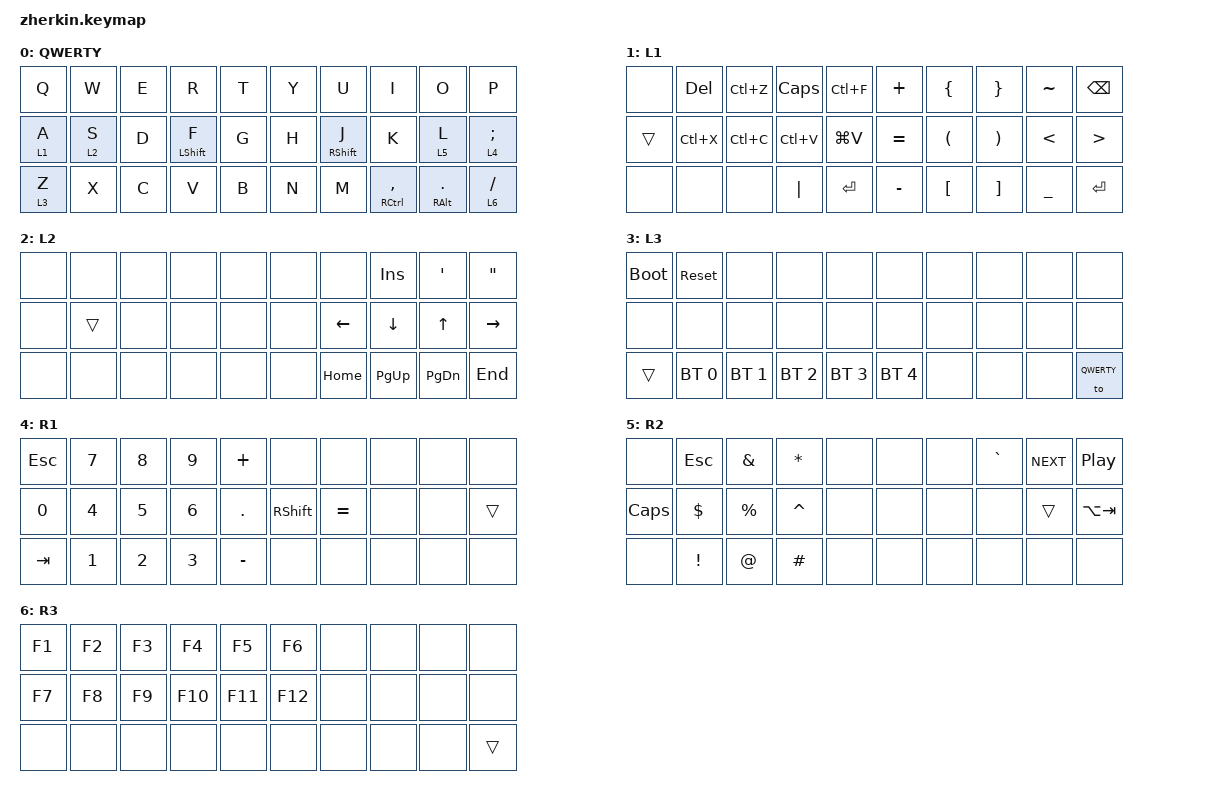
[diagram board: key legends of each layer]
#include <behaviors.dtsi>
#include <dt-bindings/zmk/keys.h>
#include <dt-bindings/zmk/bt.h>
#include <dt-bindings/zmk/outputs.h>

#define QWERTY 0
#define L1 1
#define L2 2
#define L3 3
#define R1 4
#define R2 5
#define R3 6

&lt {
    tapping-term-ms = <180>;     // LAYER TAP SPEED default=200
};

&mt {
    tapping-term-ms = <180>;    // MOD-TAP SPEED default=200
};

/ {
    combos {
        compatible = "zmk,combos";
        combo_space {
            timeout-ms = <50>;
            key-positions = <10 19>;
            bindings = <&kp SPACE>;
        };
        combo_space2 {
            timeout-ms = <50>;
            key-positions = <23 25>;
            bindings = <&kp SPACE>;
        };
    };

    keymap {
        compatible = "zmk,keymap";

        QWERTY {
            bindings = <
                &kp Q      &kp W      &kp E      &kp R       &kp T       &kp Y       &kp U       &kp I       &kp O       &kp P
                &lt 1 A    &lt 2 S    &kp D      &mt LSHIFT F &kp G       &kp H       &mt RSHIFT J &kp K       &lt 5 L     &lt 4 SEMI
                &lt 3 Z    &kp X      &kp C      &kp V       &kp B       &kp N       &kp M       &mt RCTRL COMMA &mt RALT DOT &lt 6 FSLH
            >;
        };

        L1 {
            bindings = <
                &none    &kp DEL    &kp LC(Z)  &kp CAPS   &kp LC(F)      &kp PLUS    &kp LBRC    &kp RBRC    &kp TILDE   &kp BSPC 
                &trans   &kp LC(X)  &kp LC(C)  &kp LC(V)  &kp LG(V)      &kp EQUAL   &kp LPAR    &kp RPAR    &kp LT      &kp GT 
                &none    &none      &none      &kp PIPE   &kp ENTER      &kp MINUS   &kp LBKT    &kp RBKT    &kp UNDER   &kp RET
            >;
        };

        L2 {
            bindings = <
                &none    &none      &none      &none      &none      &none       &none    &kp INS     &kp SQT     &kp DQT
                &none    &trans     &none      &none      &none      &none       &kp LEFT &kp DOWN    &kp UP      &kp RIGHT 
                &none    &none      &none      &none      &none      &none       &kp HOME &kp PG_UP   &kp PG_DN   &kp END
            >;
        };

        L3 {
            bindings = <
                &bootloader     &sys_reset      &none          &none          &none           &none            &none    &none    &none    &none 
                &none           &none           &none          &none          &none           &none            &none    &none    &none    &none     
                &trans          &bt BT_SEL 0    &bt BT_SEL 1   &bt BT_SEL 2   &bt BT_SEL 3    &bt BT_SEL 4     &none    &none    &none    &to QWERTY
            >;
        };

        R1 {
            bindings = <
                &kp ESC    &kp N7      &kp N8      &kp N9      &kp PLUS    &none     &none      &none    &none       &none 
                &kp N0     &kp N4      &kp N5      &kp N6      &kp DOT     &kp RSHFT &kp EQUAL  &none    &none       &trans 
                &kp TAB    &kp N1      &kp N2      &kp N3      &kp MINUS   &none     &none      &none    &none       &none 
            >;
        };

        R2 {
            bindings = <
                &none     &kp ESC  &kp AMPS    &kp ASTRK  &none    &none      &none    &kp GRAVE  &kp C_NEXT &kp C_PP 
                &kp CAPS  &kp DLLR &kp PRCNT   &kp CARET  &none    &none      &none    &none      &trans     &kp LA(TAB)
                &none     &kp EXCL &kp AT      &kp HASH   &none    &none      &none    &none      &none      &none
            >;
        };

        R3 {
            bindings = <
                &kp F1        &kp F2        &kp F3       &kp F4       &kp F5      &kp F6      &none        &none        &none            &none
                &kp F7        &kp F8        &kp F9       &kp F10      &kp F11     &kp F12     &none        &none        &none            &none 
                &none         &none         &none        &none        &none       &none       &none        &none        &none            &trans
            >;
        };
    };
};
